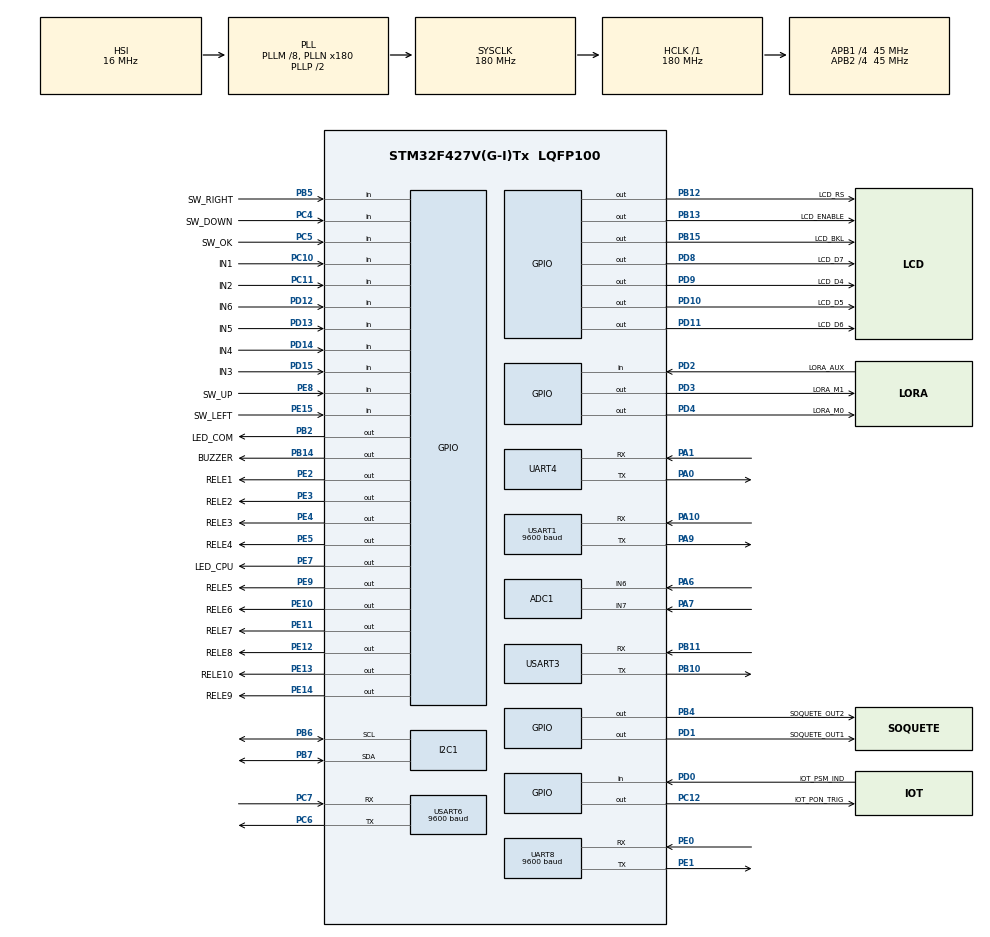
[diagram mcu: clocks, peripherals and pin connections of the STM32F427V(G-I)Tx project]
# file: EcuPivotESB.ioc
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ADC1.Channel-0\#ChannelRegularConversion=ADC_CHANNEL_7
ADC1.ClockPrescaler=ADC_CLOCK_SYNC_PCLK_DIV8
ADC1.ContinuousConvMode=ENABLE
ADC1.DMAContinuousRequests=ENABLE
ADC1.NbrOfConversionFlag=1
ADC1.Rank-0\#ChannelRegularConversion=1
ADC1.SamplingTime-0\#ChannelRegularConversion=ADC_SAMPLETIME_3CYCLES
ADC1.ScanConvMode=ENABLE
ADC1.master=1
Dma.ADC1.0.Direction=DMA_PERIPH_TO_MEMORY
Dma.ADC1.0.FIFOMode=DMA_FIFOMODE_DISABLE
Dma.ADC1.0.Instance=DMA2_Stream0
Dma.ADC1.0.MemDataAlignment=DMA_MDATAALIGN_HALFWORD
Dma.ADC1.0.MemInc=DMA_MINC_ENABLE
Dma.ADC1.0.Mode=DMA_CIRCULAR
Dma.ADC1.0.PeriphDataAlignment=DMA_PDATAALIGN_HALFWORD
Dma.ADC1.0.PeriphInc=DMA_PINC_DISABLE
Dma.ADC1.0.Priority=DMA_PRIORITY_LOW
Dma.Request0=ADC1
Dma.Request1=UART4_RX
Dma.Request2=USART1_RX
Dma.Request3=USART6_RX
Dma.Request4=UART8_RX
Dma.UART4_RX.1.Direction=DMA_PERIPH_TO_MEMORY
Dma.UART4_RX.1.FIFOMode=DMA_FIFOMODE_DISABLE
Dma.UART4_RX.1.Instance=DMA1_Stream2
Dma.UART4_RX.1.MemDataAlignment=DMA_MDATAALIGN_BYTE
Dma.UART4_RX.1.MemInc=DMA_MINC_ENABLE
Dma.UART4_RX.1.Mode=DMA_CIRCULAR
Dma.UART4_RX.1.PeriphDataAlignment=DMA_PDATAALIGN_BYTE
Dma.UART4_RX.1.PeriphInc=DMA_PINC_DISABLE
Dma.UART4_RX.1.Priority=DMA_PRIORITY_HIGH
Dma.UART8_RX.4.Direction=DMA_PERIPH_TO_MEMORY
Dma.UART8_RX.4.FIFOMode=DMA_FIFOMODE_DISABLE
Dma.UART8_RX.4.Instance=DMA1_Stream6
Dma.UART8_RX.4.MemDataAlignment=DMA_MDATAALIGN_BYTE
Dma.UART8_RX.4.MemInc=DMA_MINC_ENABLE
Dma.UART8_RX.4.Mode=DMA_CIRCULAR
Dma.UART8_RX.4.PeriphDataAlignment=DMA_PDATAALIGN_BYTE
Dma.UART8_RX.4.PeriphInc=DMA_PINC_DISABLE
Dma.UART8_RX.4.Priority=DMA_PRIORITY_MEDIUM
Dma.USART1_RX.2.Direction=DMA_PERIPH_TO_MEMORY
Dma.USART1_RX.2.FIFOMode=DMA_FIFOMODE_DISABLE
Dma.USART1_RX.2.Instance=DMA2_Stream2
Dma.USART1_RX.2.MemDataAlignment=DMA_MDATAALIGN_BYTE
Dma.USART1_RX.2.MemInc=DMA_MINC_ENABLE
Dma.USART1_RX.2.Mode=DMA_CIRCULAR
Dma.USART1_RX.2.PeriphDataAlignment=DMA_PDATAALIGN_BYTE
Dma.USART1_RX.2.PeriphInc=DMA_PINC_DISABLE
Dma.USART1_RX.2.Priority=DMA_PRIORITY_MEDIUM
Dma.USART6_RX.3.Direction=DMA_PERIPH_TO_MEMORY
Dma.USART6_RX.3.FIFOMode=DMA_FIFOMODE_DISABLE
Dma.USART6_RX.3.Instance=DMA2_Stream1
Dma.USART6_RX.3.MemDataAlignment=DMA_MDATAALIGN_BYTE
Dma.USART6_RX.3.MemInc=DMA_MINC_ENABLE
Dma.USART6_RX.3.Mode=DMA_CIRCULAR
Dma.USART6_RX.3.PeriphDataAlignment=DMA_PDATAALIGN_BYTE
Dma.USART6_RX.3.PeriphInc=DMA_PINC_DISABLE
Dma.USART6_RX.3.Priority=DMA_PRIORITY_HIGH
FREERTOS.Tasks01=mainTask,0,512,MainTask,Default,NULL,Dynamic,NULL,NULL;ftpTask,-3,1024,FTPTask,Default,NULL,Dynamic,NULL,NULL
FREERTOS.configUSE_NEWLIB_REENTRANT=1
IWDG.Prescaler=IWDG_PRESCALER_64
Mcu.Family=STM32F4
Mcu.Name=STM32F427V(G-I)Tx
Mcu.Package=LQFP100
NVIC.ADC_IRQn=true\:5\:0\:false\:false\:true\:true\:true\:true\:true
NVIC.DMA1_Stream2_IRQn=true\:5\:0\:false\:false\:true\:true\:false\:true\:true
NVIC.DMA1_Stream6_IRQn=true\:5\:0\:false\:false\:true\:true\:false\:true\:true
NVIC.DMA2_Stream0_IRQn=true\:5\:0\:false\:false\:true\:true\:false\:true\:true
NVIC.DMA2_Stream1_IRQn=true\:5\:0\:false\:false\:true\:true\:false\:true\:true
NVIC.DMA2_Stream2_IRQn=true\:5\:0\:false\:false\:true\:true\:false\:true\:true
NVIC.PriorityGroup=NVIC_PRIORITYGROUP_4
NVIC.TIM1_UP_TIM10_IRQn=true\:15\:0\:false\:false\:true\:false\:false\:true\:true
NVIC.TIM3_IRQn=true\:5\:0\:false\:false\:true\:true\:true\:true\:true
NVIC.TimeBase=TIM1_UP_TIM10_IRQn
NVIC.TimeBaseIP=TIM1
NVIC.UART4_IRQn=true\:5\:0\:false\:false\:true\:true\:true\:true\:true
NVIC.UART8_IRQn=true\:5\:0\:false\:false\:true\:true\:true\:true\:true
NVIC.USART1_IRQn=true\:5\:0\:false\:false\:true\:true\:true\:true\:true
NVIC.USART6_IRQn=true\:5\:0\:false\:false\:true\:true\:true\:true\:true
PA0/WKUP.Mode=Asynchronous
PA0/WKUP.Signal=UART4_TX
PA1.Mode=Asynchronous
PA1.Signal=UART4_RX
PA10.Mode=Asynchronous
PA10.Signal=USART1_RX
PA13.Mode=Serial_Wire
PA13.Signal=SYS_JTMS-SWDIO
PA14.Mode=Serial_Wire
PA14.Signal=SYS_JTCK-SWCLK
PA6.Signal=ADCx_IN6
PA7.Signal=ADCx_IN7
PA9.Mode=Asynchronous
PA9.Signal=USART1_TX
PB10.Mode=Asynchronous
PB10.Signal=USART3_TX
PB11.Mode=Asynchronous
PB11.Signal=USART3_RX
PB12.GPIO_Label=LCD_RS
PB12.Signal=GPIO_Output
PB13.GPIO_Label=LCD_ENABLE
PB13.Signal=GPIO_Output
PB14.GPIO_Label=BUZZER
PB14.Signal=GPIO_Output
PB15.GPIO_Label=LCD_BKL
PB15.Signal=GPIO_Output
PB2/BOOT1.GPIO_Label=LED_COM
PB2/BOOT1.Signal=GPIO_Output
PB4.GPIO_Label=SOQUETE_OUT2
PB4.Signal=GPIO_Output
PB5.GPIO_Label=SW_RIGHT
PB5.GPIO_PuPd=GPIO_PULLUP
PB5.Signal=GPIO_Input
PB6.Mode=I2C
PB6.Signal=I2C1_SCL
PB7.Mode=I2C
PB7.Signal=I2C1_SDA
PC10.GPIO_Label=IN1
PC10.GPIO_PuPd=GPIO_PULLUP
PC10.Signal=GPIO_Input
PC11.GPIO_Label=IN2
PC11.GPIO_PuPd=GPIO_PULLUP
PC11.Signal=GPIO_Input
PC12.GPIO_Label=IOT_PON_TRIG
PC12.Signal=GPIO_Output
PC14/OSC32_IN.Mode=LSE-External-Oscillator
PC14/OSC32_IN.Signal=RCC_OSC32_IN
PC15/OSC32_OUT.Mode=LSE-External-Oscillator
PC15/OSC32_OUT.Signal=RCC_OSC32_OUT
PC4.GPIO_Label=SW_DOWN
PC4.GPIO_PuPd=GPIO_PULLUP
PC4.Signal=GPIO_Input
PC5.GPIO_Label=SW_OK
PC5.GPIO_PuPd=GPIO_PULLUP
PC5.Signal=GPIO_Input
PC6.Mode=Asynchronous
PC6.Signal=USART6_TX
PC7.Mode=Asynchronous
PC7.Signal=USART6_RX
PD0.GPIO_Label=IOT_PSM_IND
PD0.Signal=GPIO_Input
PD1.GPIO_Label=SOQUETE_OUT1
PD1.Signal=GPIO_Output
PD10.GPIO_Label=LCD_D5
PD10.Signal=GPIO_Output
PD11.GPIO_Label=LCD_D6
PD11.Signal=GPIO_Output
PD12.GPIO_Label=IN6
PD12.GPIO_PuPd=GPIO_PULLUP
PD12.Signal=GPIO_Input
PD13.GPIO_Label=IN5
PD13.GPIO_PuPd=GPIO_PULLUP
PD13.Signal=GPIO_Input
PD14.GPIO_Label=IN4
PD14.GPIO_PuPd=GPIO_PULLUP
PD14.Signal=GPIO_Input
PD15.GPIO_Label=IN3
PD15.GPIO_PuPd=GPIO_PULLUP
PD15.Signal=GPIO_Input
PD2.GPIO_Label=LORA_AUX
PD2.GPIO_PuPd=GPIO_NOPULL
PD2.Signal=GPIO_Input
PD3.GPIO_Label=LORA_M1
PD3.Signal=GPIO_Output
PD4.GPIO_Label=LORA_M0
PD4.Signal=GPIO_Output
PD8.GPIO_Label=LCD_D7
PD8.Signal=GPIO_Output
PD9.GPIO_Label=LCD_D4
PD9.Signal=GPIO_Output
PE0.Mode=Asynchronous
PE0.Signal=UART8_RX
PE1.Mode=Asynchronous
PE1.Signal=UART8_TX
PE10.GPIO_Label=RELE6
PE10.Signal=GPIO_Output
PE11.GPIO_Label=RELE7
PE11.Signal=GPIO_Output
PE12.GPIO_Label=RELE8
PE12.Signal=GPIO_Output
PE13.GPIO_Label=RELE10
PE13.Signal=GPIO_Output
PE14.GPIO_Label=RELE9
PE14.Signal=GPIO_Output
PE15.GPIO_Label=SW_LEFT
PE15.GPIO_PuPd=GPIO_PULLUP
PE15.Signal=GPIO_Input
PE2.GPIO_Label=RELE1
PE2.Signal=GPIO_Output
PE3.GPIO_Label=RELE2
PE3.Signal=GPIO_Output
PE4.GPIO_Label=RELE3
PE4.Signal=GPIO_Output
PE5.GPIO_Label=RELE4
PE5.Signal=GPIO_Output
PE7.GPIO_Label=LED_CPU
PE7.Signal=GPIO_Output
PE8.GPIO_Label=SW_UP
PE8.GPIO_PuPd=GPIO_PULLUP
PE8.Signal=GPIO_Input
PE9.GPIO_Label=RELE5
PE9.Signal=GPIO_Output
ProjectManager.HeapSize=0x2000
ProjectManager.StackSize=0x4000
ProjectManager.TargetToolchain=STM32CubeIDE
RCC.48MHZClocksFreq_Value=90000000
RCC.AHBFreq_Value=180000000
RCC.APB1CLKDivider=RCC_HCLK_DIV4
RCC.APB1Freq_Value=45000000
RCC.APB1TimFreq_Value=90000000
RCC.APB2CLKDivider=RCC_HCLK_DIV4
RCC.APB2Freq_Value=45000000
RCC.APB2TimFreq_Value=90000000
RCC.CortexFreq_Value=180000000
RCC.HCLKFreq_Value=180000000
RCC.HSE_VALUE=25000000
RCC.HSI_VALUE=16000000
RCC.PLLM=8
RCC.PLLN=180
RCC.RCC_RTC_Clock_SourceVirtual=RCC_RTCCLKSOURCE_LSE
RCC.SYSCLKFreq_VALUE=180000000
RCC.SYSCLKSource=RCC_SYSCLKSOURCE_PLLCLK
RCC.VCOOutputFreq_Value=360000000
SH.ADCx_IN6.0=ADC1_IN6,IN6
SH.ADCx_IN7.0=ADC1_IN7,IN7
TIM2.Prescaler=90-1
TIM3.Period=10-1
TIM3.Prescaler=900-1
UART4.VirtualMode=Asynchronous
UART8.BaudRate=9600
UART8.VirtualMode=Asynchronous
USART1.BaudRate=9600
USART1.VirtualMode=VM_ASYNC
USART3.VirtualMode=VM_ASYNC
USART6.BaudRate=9600
USART6.VirtualMode=VM_ASYNC
VP_FREERTOS_VS_CMSIS_V1.Mode=CMSIS_V1
VP_IWDG_VS_IWDG.Mode=IWDG_Activate
VP_RTC_VS_RTC_Activate.Mode=RTC_Enabled
VP_RTC_VS_RTC_Calendar.Mode=RTC_Calendar
VP_SYS_VS_tim1.Mode=TIM1
VP_TIM2_VS_ClockSourceINT.Mode=Internal
VP_TIM3_VS_ClockSourceINT.Mode=Internal
board=custom

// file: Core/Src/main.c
/* USER CODE BEGIN Header */
/**
  ******************************************************************************
  * @file           : main.c
  * @brief          : Main program body
  ******************************************************************************
  * @attention
  *
  * Copyright (c) 2025 STMicroelectronics.
  * All rights reserved.
  *
  * This software is licensed under terms that can be found in the LICENSE file
  * in the root directory of this software component.
  * If no LICENSE file comes with this software, it is provided AS-IS.
  *
  ******************************************************************************
  */
/* USER CODE END Header */
#include "main.h"
#include "cmsis_os.h"

/* USER CODE BEGIN Includes */
#include "global.h"
#include "string.h"
#include "codigosLogs.h"
/* USER CODE END Includes */

/* USER CODE BEGIN PTD */
const char SERVICE_TOKEN[160] = "Authorization: Bearer eyJhbGciOiJIUzI1NiIsInR5cCI6IkpXVCJ9.eyJpYXQiOjE3MjY3ODc2ODAsImV4cCI6NDg4MjU0NzY4MH0.HAkiJpJuatu9opYnIijl3HBSTZjp9GCYPEYsGmvLF14";
const char SERVICE_ADDRESS[65] = "http://pivots-proxy-reverse.automasensorapps.workers.dev/";
//const char SERVICE_ADDRESS[45] = "http://pivots-907b8.rj.r.appspot.com/";
const char SERVICE_HOST[55] = "pivots-proxy-reverse.automasensorapps.workers.dev";
//const char SERVICE_HOST[32] = "pivots-907b8.rj.r.appspot.com";
const char ENDPOINT_POST_REPORTE[25] = "api/pivots/report";
const char ENDPOINT_GET_ACIONAMENTO[25] = "api/pivots/drive/";
const char ENDPOINT_GET_CONFIG[25] = "api/pivots/config/";
/* USER CODE END PTD */

ADC_HandleTypeDef hadc1;
DMA_HandleTypeDef hdma_adc1;

I2C_HandleTypeDef hi2c1;

IWDG_HandleTypeDef hiwdg;

RTC_HandleTypeDef hrtc;

TIM_HandleTypeDef htim2;
TIM_HandleTypeDef htim3;

UART_HandleTypeDef huart4;
UART_HandleTypeDef huart8;
UART_HandleTypeDef huart1;
UART_HandleTypeDef huart3;
UART_HandleTypeDef huart6;
DMA_HandleTypeDef hdma_uart4_rx;
DMA_HandleTypeDef hdma_uart8_rx;
DMA_HandleTypeDef hdma_usart1_rx;
DMA_HandleTypeDef hdma_usart6_rx;

osThreadId mainTaskHandle;
osThreadId ftpTaskHandle;
/* USER CODE BEGIN PV */
RTC_DateTypeDef sDate;

RTC_TimeTypeDef
	sTime,
	horarioInicioPonta,
	horarioFimPonta;

uint8_t
	flagMenu = false,
	flagEntraMenu = false,
	flagOperacao = false,
	flagBuzzer = false,
	flagLedCOM = false,
	flagAtualizaLCD = false,
	flagReadRTC = false,
	flagServiceOcupado = false,
	flagServiceLeituraConfig = false,
	flagReportaDesligou = false,
	flagContaHorimetro = false,
	flagSalvaHorimetro = false,
	flagVerificaObstaculos = false,

	flagRetornoHome = false,
	flagRetornoHomeHorarioPonta = false,
	flagHomeEncontrado = false,
	flagEmergencia = false,
	flagFalhaSeguranca = false,
	flagFaltaFase = false,
	flagBarricada = false,
	flagBarricadaGPS = false,
	flagFalhaPressao = false,
	flagObstaculoEncontrado = false,
	flagPortaAberta = false,
	flagHorarioPonta = false,
	flagSaiuHorarioPonta = false,
	flagManualDireita = false,
	flagManualEsquerda = false,
	flagAcionamentoPelaEeprom = false,
	flagBombaBooster = false,
	flagOverrideBombaBooster = false,
	flagTrocouLaminaDagua = false,
	flagSelecaoPivot = false,
	flagIrrigacaoAguardandoInicio = false,
	flagIrrigacaoAguardandoPressao = false,
	flagFertiIrrigacao = false,
	flagAcionamentoPercentimetro = false,
	flagAcionamentoBombaPrincipal = false,
	flagAcionamentoContatoAuxiliar = false,

	flagLeituraGNSS = false,
	flagLeituraGNSSRecente = false,
	flagPosicaoInicioOperacaoConfiavel = false,
	flagPacoteRS485 = false,
	flagPacoteGNSSRS485 = false,
	flagPacoteGNSSLoRa = false,
	flagSucessoLoRa = false,

	flagWiFiDhcp = true,

	flagSalvaOperacao = false,

	flagInfoLCDSeguranca = false,
	flagInfoLCDPressao = false,
	flagInfoLCDGNSS = false,

	flagFimCursoDireita = false,
	flagFimCursoEsquerda = false;

uint8_t
	modoOperacao = MODO_DESLOCAMENTO,
	modoOperacaoRemoto = MODO_DESLOCAMENTO,
	modoOperacaoHorarioPonta = MODO_DESLOCAMENTO,
	cicloIrrigacao = IRRIGACAO_1_CICLO,
	sentidoMotor = MOTOR_DESLIGADO,
	sentidoRemoto = REMOTO_SEM_COMANDO,
	sentidoHorarioPonta = MOTOR_DESLIGADO,
	agendaHorarioAcionado = 99,
	alarmePressao = 0,
	histereseAlarmePressao = 0,
	tipoSensorPressao = SENSOR_10BAR,
	tempoPressurizacao = 5,
	placaSoquete = SOQUETE_GPRS,

	contadorVerificaSeguranca = TEMPO_VERIFICA_SEGURANCA,
	contadorReversaoMotor = TEMPO_REVERSAO_MOTOR,
	contadorPulsoReleOn = TEMPO_PULSO_RELE_ON,
	contadorErroBG95 = 0,
	contadorErroGPRS = 0,
	contadorErroGNSS = 0,
	contadorTimeoutGNSS = 0,
	contadorTimeoutGNSSRecente = 0,
	contadorTimeoutConfiguraGNSS = 0,
	contadorTimeoutDadosWiFi = 0,
	comunicacaoGNSS = GNSS_485,
	contadorIniciaVerificacaoHorarioPonta = 0,
	contadorRS485Buffer = 0,
	contadorLoRaBuffer = 0,
	contadorAguardaPosicaoObstaculo = 0,
	pressao = 0,

	timeoutRS485 = TIMEOUT_PADRAO_RS485,

	contadorEntraMenu = 0,
	contadorReporteService = 0,

	percentualSinalOperadora = 0, //entre 0-99%
	qualidadeSinalLora = 0, //entre 0-5

	canalLoRa = 0x1F,
	canalLoRaGateway = 0x10;

char
	soqueteDataIn = ' ',
	rs485DataIn = ' ',
	loraDataIn = ' ',

	operadoraConectada = 'N';

uint16_t
	senha = 0,
	tempoPressurizacaoSegundos = 0,
	contadorSoqueteBuffer = 0,
	contadorTimeoutBG95 = 0,
	contadorTimeoutGPRS = 0,
	contadorTimeoutLoRa = 0,
	contadorTimeoutLoRaGateway = 0,
	contadorTimeoutWiFi = 0,
	contadorBombaPrincipal = 0,

	tempoBaseLaminaDagua = 200,
	tabelaLaminaDagua05 = 7000,
	tabelaLaminaDagua12 = 5000,
	tabelaLaminaDagua20 = 4000,
	tabelaLaminaDagua30 = 3000,
	tabelaLaminaDagua40 = 2000,
	tabelaLaminaDagua50 = 1200,
	tabelaLaminaDagua70 = 500,

	laminaDagua = 100,
	trocaLaminaDagua = 100,
	contadorLaminaDagua = 0,
	contadorLaminaDaguaDesligado = 0,
	setPointContadorLaminaDagua = 0,
	setPointContadorLaminaDaguaDesligado = 0,

	enderecoLoRaPivot = 0x0110,
	enderecoLoRaGNSS = 0x0111,

	enderecoLoRaPivotGateway = 0x0110,
	enderecoLoRaGateway = 0x0112,

	contadorTempoInfoSinais = 0,

	posicaoMemoriaLog = 0;

uint32_t
	numeroSerial = 0,

	ultimoIdConfig = 0,
	ultimoIdAcionamento = 0;

CoordenadasTypeDef
	posicaoAtualGPS,
	posicaoInicioOperacao,
	posicaoHome;

HorimetroTypeDef
	horimetro;

LogTypeDef
	logLido;

char
	mensagemFTPLCD[16],

	bufferEnvioLoRa[TAMANHO_BUFFER_LORA],
	bufferLoRa[TAMANHO_BUFFER_LORA],
	bufferRS485[TAMANHO_BUFFER_RS485],
	bufferSoquete[TAMANHO_BUFFER_SOQUETE],
	bufferEnvioSoquete[TAMANHO_BUFFER_SOQUETE],
	reporteService[TAMANHO_MAXIMO_REPORTE],

	enderecoLoRaRecebidoPivot[5],
	enderecoLoRaRecebidoGNSS[5],
	canalLoRaRecebido[5],

	wifiSSID[QUANTIDADE_CHAR_WIFI_SSID + 1],
	wifiSenha[QUANTIDADE_CHAR_WIFI_SENHA + 1],

	gprsAPN[QUANTIDADE_CHAR_GPRS_APN];

uint8_t
	flagObstaculoAtivado[QUANTIDADE_OBSTACULOS],
	statusEntradasDigitais[QUANTIDADE_ENTRADAS_DIGITAIS],
	statusReles[QUANTIDADE_RELES];

uint8_t
	acionamentoAgenda[QUANTIDADE_AGENDA_ACIONAMENTO],
	diaDaSemanaAgenda[QUANTIDADE_AGENDA_ACIONAMENTO],

	wifiIpDinamico[4],
	wifiIp[4],
	wifiGateway[4],
	wifiDNS[4],
	wifiMask[4];

uint16_t
	valorAdc[2],
	raioAtuacaoObstaculo[QUANTIDADE_OBSTACULOS];

RTC_TimeTypeDef
	horarioLigarAgenda[QUANTIDADE_AGENDA_ACIONAMENTO],
	horarioDesligarAgenda[QUANTIDADE_AGENDA_ACIONAMENTO];

CoordenadasTypeDef
	posicoesObstaculos[QUANTIDADE_OBSTACULOS];
/* USER CODE END PV */

void SystemClock_Config(void);
static void MX_GPIO_Init(void);
static void MX_DMA_Init(void);
static void MX_ADC1_Init(void);
static void MX_RTC_Init(void);
static void MX_TIM2_Init(void);
static void MX_TIM3_Init(void);
static void MX_UART4_Init(void);
static void MX_USART1_UART_Init(void);
static void MX_USART6_UART_Init(void);
static void MX_UART8_Init(void);
static void MX_I2C1_Init(void);
static void MX_USART3_UART_Init(void);
static void MX_IWDG_Init(void);
void MainTask(void const * argument);
void FTPTask(void const * argument);

/* USER CODE BEGIN 0 */
void HAL_ADC_ConvCpltCallback(ADC_HandleTypeDef* hadc) {
	if(hadc == &hadc1) {
		leituraTransdutorPressao();
	}
}

void HAL_UART_RxCpltCallback(UART_HandleTypeDef *huart) {
	if(huart-> Instance==UART8) { // LORA
		bufferLoRa[contadorLoRaBuffer] = loraDataIn;
		contadorLoRaBuffer ++;

		if(contadorLoRaBuffer >= TAMANHO_BUFFER_LORA) {
			apagaLoRaBuffer();
		}

		//HAL_UART_Transmit(&huart1, &loraDataIn, 1, 20);

		if(loraDataIn == 0x0A) {
			flagPacoteGNSSLoRa = true;
		}
	}

	if(huart-> Instance==USART6) { // PLACA SOQUETE
		if(soqueteDataIn == 0x00) {
			return;
		}
		if(placaSoquete == SOQUETE_WIFI) {
			return;
		}
		if(placaSoquete == SOQUETE_GPRS) {
			HAL_UART_Transmit(&huart3, &soqueteDataIn, 1, 20);
		}
		bufferSoquete[contadorSoqueteBuffer] = soqueteDataIn;
		contadorSoqueteBuffer ++;

		if(contadorSoqueteBuffer >= TAMANHO_BUFFER_SOQUETE) {
			apagaSoqueteBuffer();
		}
	}

	if(huart-> Instance==UART4) { //WIFI
		if(soqueteDataIn == 0x00) {
			return;
		}
		if(placaSoquete != SOQUETE_WIFI) {
			return;
		}
		bufferSoquete[contadorSoqueteBuffer] = soqueteDataIn;
		contadorSoqueteBuffer ++;

		if(contadorSoqueteBuffer >= TAMANHO_BUFFER_SOQUETE) {
			apagaSoqueteBuffer();
		}
	}

	if(huart-> Instance==USART1) { //rs485
		if(rs485DataIn == 0x00) {
			return;
		}
		bufferRS485[contadorRS485Buffer] = rs485DataIn;
		contadorRS485Buffer ++;

		if(contadorRS485Buffer >= TAMANHO_BUFFER_RS485) {
			apagaRS485Buffer();
		}

		if(rs485DataIn == 0x0A) {
			flagPacoteRS485 = true;
		}
	}
}

void delayMicro(uint32_t tempo) {
	__HAL_TIM_SET_COUNTER(&htim2, 0);
	while(__HAL_TIM_GET_COUNTER(&htim2) < tempo) {
	}
}

void reiniciaWatchDog() {
	HAL_IWDG_Refresh(&hiwdg);
}

/* USER CODE END 0 */

int main(void)
{

  /* MCU Configuration--------------------------------------------------------*/

  /* Reset of all peripherals, Initializes the Flash interface and the Systick. */
  HAL_Init();

  /* Configure the system clock */
  SystemClock_Config();

  /* Initialize all configured peripherals */
  MX_GPIO_Init();
  MX_DMA_Init();
  MX_ADC1_Init();
  MX_RTC_Init();
  MX_TIM2_Init();
  MX_TIM3_Init();
  MX_UART4_Init();
  MX_USART1_UART_Init();
  MX_USART6_UART_Init();
  MX_UART8_Init();
  MX_I2C1_Init();
  MX_USART3_UART_Init();
  MX_IWDG_Init();
  /* USER CODE BEGIN 2 */
  HAL_TIM_Base_Start(&htim2); //Timer do delay us
  HAL_TIM_Base_Start_IT(&htim3); //Timer do Scheduller
  HAL_ADC_Start_DMA(&hadc1, valorAdc, 2); //Inicia o ADC1 pela DMA
  desligaTodasSaidas();

  on(SOQUETE_OUT2_GPIO_Port, SOQUETE_OUT2_Pin); //O Out1 muda conforme a placa soquete

  on(LED_COM_GPIO_Port, LED_COM_Pin);
  on(LED_CPU_GPIO_Port, LED_CPU_Pin);
  on(LCD_BKL_GPIO_Port, LCD_BKL_Pin);

  off(LORA_M0_GPIO_Port, LORA_M0_Pin);
  off(LORA_M1_GPIO_Port, LORA_M1_Pin);

  readRTC();
  inicializaLcd();
  telaInicial();
  off(SOQUETE_OUT2_GPIO_Port, SOQUETE_OUT2_Pin);

  horimetro.segundos = 0;
  reiniciaVeriaveisProcesso();

  verificaEeprom();
  readPosicaoMemoriaLog();
  salvaLog(LOG_SISTEMA_INICIADO);
  readEeprom();
  calculaLaminaDagua();
  configuraVelocidadeUART6();

  on(IOT_PON_TRIG_GPIO_Port, IOT_PON_TRIG_Pin);
  HAL_Delay(100);
  off(IOT_PON_TRIG_GPIO_Port, IOT_PON_TRIG_Pin);

  HAL_UART_Transmit(&huart3, "Inicializado\n", 13, 100);
  HAL_UART_Receive_DMA(&huart8, &loraDataIn, 1);
  if(placaSoquete == SOQUETE_WIFI) {
	  HAL_UART_Receive_DMA(&huart4, &soqueteDataIn, 1);
  }
  else {
	  HAL_UART_Receive_DMA(&huart6, &soqueteDataIn, 1);
  }

  HAL_UART_Receive_DMA(&huart1, &rs485DataIn, 1);

  telaOperacao();

  /* USER CODE END 2 */

  /* Create the thread(s) */
  /* definition and creation of mainTask */
  osThreadDef(mainTask, MainTask, osPriorityNormal, 0, 512);
  mainTaskHandle = osThreadCreate(osThread(mainTask), NULL);

  /* definition and creation of ftpTask */
  osThreadDef(ftpTask, FTPTask, osPriorityIdle, 0, 1024);
  ftpTaskHandle = osThreadCreate(osThread(ftpTask), NULL);

  /* Start scheduler */
  osKernelStart();

  /* We should never get here as control is now taken by the scheduler */

  /* Infinite loop */
  while (1)
  {

  }
}

void SystemClock_Config(void)
{
  RCC_OscInitTypeDef RCC_OscInitStruct = {0};
  RCC_ClkInitTypeDef RCC_ClkInitStruct = {0};

  /** Configure the main internal regulator output voltage
  */
  __HAL_RCC_PWR_CLK_ENABLE();
  __HAL_PWR_VOLTAGESCALING_CONFIG(PWR_REGULATOR_VOLTAGE_SCALE1);

  /** Initializes the RCC Oscillators according to the specified parameters
  * in the RCC_OscInitTypeDef structure.
  */
  RCC_OscInitStruct.OscillatorType = RCC_OSCILLATORTYPE_HSI|RCC_OSCILLATORTYPE_LSI
                              |RCC_OSCILLATORTYPE_LSE;
  RCC_OscInitStruct.LSEState = RCC_LSE_ON;
  RCC_OscInitStruct.HSIState = RCC_HSI_ON;
  RCC_OscInitStruct.HSICalibrationValue = RCC_HSICALIBRATION_DEFAULT;
  RCC_OscInitStruct.LSIState = RCC_LSI_ON;
  RCC_OscInitStruct.PLL.PLLState = RCC_PLL_ON;
  RCC_OscInitStruct.PLL.PLLSource = RCC_PLLSOURCE_HSI;
  RCC_OscInitStruct.PLL.PLLM = 8;
  RCC_OscInitStruct.PLL.PLLN = 180;
  RCC_OscInitStruct.PLL.PLLP = RCC_PLLP_DIV2;
  RCC_OscInitStruct.PLL.PLLQ = 4;
  if (HAL_RCC_OscConfig(&RCC_OscInitStruct) != HAL_OK)
  {
    Error_Handler();
  }

  /** Activate the Over-Drive mode
  */
  if (HAL_PWREx_EnableOverDrive() != HAL_OK)
  {
    Error_Handler();
  }

  /** Initializes the CPU, AHB and APB buses clocks
  */
  RCC_ClkInitStruct.ClockType = RCC_CLOCKTYPE_HCLK|RCC_CLOCKTYPE_SYSCLK
                              |RCC_CLOCKTYPE_PCLK1|RCC_CLOCKTYPE_PCLK2;
  RCC_ClkInitStruct.SYSCLKSource = RCC_SYSCLKSOURCE_PLLCLK;
  RCC_ClkInitStruct.AHBCLKDivider = RCC_SYSCLK_DIV1;
  RCC_ClkInitStruct.APB1CLKDivider = RCC_HCLK_DIV4;
  RCC_ClkInitStruct.APB2CLKDivider = RCC_HCLK_DIV4;

  if (HAL_RCC_ClockConfig(&RCC_ClkInitStruct, FLASH_LATENCY_5) != HAL_OK)
  {
    Error_Handler();
  }
}

static void MX_ADC1_Init(void)
{

  ADC_ChannelConfTypeDef sConfig = {0};

  /** Configure the global features of the ADC (Clock, Resolution, Data Alignment and number of conversion)
  */
  hadc1.Instance = ADC1;
  hadc1.Init.ClockPrescaler = ADC_CLOCK_SYNC_PCLK_DIV8;
  hadc1.Init.Resolution = ADC_RESOLUTION_12B;
  hadc1.Init.ScanConvMode = ENABLE;
  hadc1.Init.ContinuousConvMode = ENABLE;
  hadc1.Init.DiscontinuousConvMode = DISABLE;
  hadc1.Init.ExternalTrigConvEdge = ADC_EXTERNALTRIGCONVEDGE_NONE;
  hadc1.Init.ExternalTrigConv = ADC_SOFTWARE_START;
  hadc1.Init.DataAlign = ADC_DATAALIGN_RIGHT;
  hadc1.Init.NbrOfConversion = 1;
  hadc1.Init.DMAContinuousRequests = ENABLE;
  hadc1.Init.EOCSelection = ADC_EOC_SINGLE_CONV;
  if (HAL_ADC_Init(&hadc1) != HAL_OK)
  {
    Error_Handler();
  }

  /** Configure for the selected ADC regular channel its corresponding rank in the sequencer and its sample time.
  */
  sConfig.Channel = ADC_CHANNEL_7;
  sConfig.Rank = 1;
  sConfig.SamplingTime = ADC_SAMPLETIME_3CYCLES;
  if (HAL_ADC_ConfigChannel(&hadc1, &sConfig) != HAL_OK)
  {
    Error_Handler();
  }

}

static void MX_I2C1_Init(void)
{

  hi2c1.Instance = I2C1;
  hi2c1.Init.ClockSpeed = 100000;
  hi2c1.Init.DutyCycle = I2C_DUTYCYCLE_2;
  hi2c1.Init.OwnAddress1 = 0;
  hi2c1.Init.AddressingMode = I2C_ADDRESSINGMODE_7BIT;
  hi2c1.Init.DualAddressMode = I2C_DUALADDRESS_DISABLE;
  hi2c1.Init.OwnAddress2 = 0;
  hi2c1.Init.GeneralCallMode = I2C_GENERALCALL_DISABLE;
  hi2c1.Init.NoStretchMode = I2C_NOSTRETCH_DISABLE;
  if (HAL_I2C_Init(&hi2c1) != HAL_OK)
  {
    Error_Handler();
  }

  /** Configure Analogue filter
  */
  if (HAL_I2CEx_ConfigAnalogFilter(&hi2c1, I2C_ANALOGFILTER_ENABLE) != HAL_OK)
  {
    Error_Handler();
  }

  /** Configure Digital filter
  */
  if (HAL_I2CEx_ConfigDigitalFilter(&hi2c1, 0) != HAL_OK)
  {
    Error_Handler();
  }

}

static void MX_IWDG_Init(void)
{

  hiwdg.Instance = IWDG;
  hiwdg.Init.Prescaler = IWDG_PRESCALER_64;
  hiwdg.Init.Reload = 4095;
  if (HAL_IWDG_Init(&hiwdg) != HAL_OK)
  {
    Error_Handler();
  }

}

static void MX_RTC_Init(void)
{

  RTC_TimeTypeDef sTime = {0};
  RTC_DateTypeDef sDate = {0};

  /** Initialize RTC Only
  */
  hrtc.Instance = RTC;
  hrtc.Init.HourFormat = RTC_HOURFORMAT_24;
  hrtc.Init.AsynchPrediv = 127;
  hrtc.Init.SynchPrediv = 255;
  hrtc.Init.OutPut = RTC_OUTPUT_DISABLE;
  hrtc.Init.OutPutPolarity = RTC_OUTPUT_POLARITY_HIGH;
  hrtc.Init.OutPutType = RTC_OUTPUT_TYPE_OPENDRAIN;
  if (HAL_RTC_Init(&hrtc) != HAL_OK)
  {
    Error_Handler();
  }

  /* USER CODE BEGIN Check_RTC_BKUP */
  return; //não permite reiniciar a data/hora
  /* USER CODE END Check_RTC_BKUP */

  /** Initialize RTC and set the Time and Date
  */
  sTime.Hours = 0x0;
  sTime.Minutes = 0x0;
  sTime.Seconds = 0x0;
  sTime.DayLightSaving = RTC_DAYLIGHTSAVING_NONE;
  sTime.StoreOperation = RTC_STOREOPERATION_RESET;
  if (HAL_RTC_SetTime(&hrtc, &sTime, RTC_FORMAT_BCD) != HAL_OK)
  {
    Error_Handler();
  }
  sDate.WeekDay = RTC_WEEKDAY_MONDAY;
  sDate.Month = RTC_MONTH_JANUARY;
  sDate.Date = 0x1;
  sDate.Year = 0x0;

  if (HAL_RTC_SetDate(&hrtc, &sDate, RTC_FORMAT_BCD) != HAL_OK)
  {
    Error_Handler();
  }

}

static void MX_TIM2_Init(void)
{

  TIM_ClockConfigTypeDef sClockSourceConfig = {0};
  TIM_MasterConfigTypeDef sMasterConfig = {0};

  htim2.Instance = TIM2;
  htim2.Init.Prescaler = 90-1;
  htim2.Init.CounterMode = TIM_COUNTERMODE_UP;
  htim2.Init.Period = 4294967295;
  htim2.Init.ClockDivision = TIM_CLOCKDIVISION_DIV1;
  htim2.Init.AutoReloadPreload = TIM_AUTORELOAD_PRELOAD_DISABLE;
  if (HAL_TIM_Base_Init(&htim2) != HAL_OK)
  {
    Error_Handler();
  }
  sClockSourceConfig.ClockSource = TIM_CLOCKSOURCE_INTERNAL;
  if (HAL_TIM_ConfigClockSource(&htim2, &sClockSourceConfig) != HAL_OK)
  {
    Error_Handler();
  }
  sMasterConfig.MasterOutputTrigger = TIM_TRGO_RESET;
  sMasterConfig.MasterSlaveMode = TIM_MASTERSLAVEMODE_DISABLE;
  if (HAL_TIMEx_MasterConfigSynchronization(&htim2, &sMasterConfig) != HAL_OK)
  {
    Error_Handler();
  }

}

static void MX_TIM3_Init(void)
{

  TIM_ClockConfigTypeDef sClockSourceConfig = {0};
  TIM_MasterConfigTypeDef sMasterConfig = {0};

  htim3.Instance = TIM3;
  htim3.Init.Prescaler = 900-1;
  htim3.Init.CounterMode = TIM_COUNTERMODE_UP;
  htim3.Init.Period = 10-1;
  htim3.Init.ClockDivision = TIM_CLOCKDIVISION_DIV1;
  htim3.Init.AutoReloadPreload = TIM_AUTORELOAD_PRELOAD_DISABLE;
  if (HAL_TIM_Base_Init(&htim3) != HAL_OK)
  {
    Error_Handler();
  }
  sClockSourceConfig.ClockSource = TIM_CLOCKSOURCE_INTERNAL;
  if (HAL_TIM_ConfigClockSource(&htim3, &sClockSourceConfig) != HAL_OK)
  {
    Error_Handler();
  }
  sMasterConfig.MasterOutputTrigger = TIM_TRGO_RESET;
  sMasterConfig.MasterSlaveMode = TIM_MASTERSLAVEMODE_DISABLE;
  if (HAL_TIMEx_MasterConfigSynchronization(&htim3, &sMasterConfig) != HAL_OK)
  {
    Error_Handler();
  }

}

static void MX_UART4_Init(void)
{

  huart4.Instance = UART4;
  huart4.Init.BaudRate = 115200;
  huart4.Init.WordLength = UART_WORDLENGTH_8B;
  huart4.Init.StopBits = UART_STOPBITS_1;
  huart4.Init.Parity = UART_PARITY_NONE;
  huart4.Init.Mode = UART_MODE_TX_RX;
  huart4.Init.HwFlowCtl = UART_HWCONTROL_NONE;
  huart4.Init.OverSampling = UART_OVERSAMPLING_16;
  if (HAL_UART_Init(&huart4) != HAL_OK)
  {
    Error_Handler();
  }

}

static void MX_UART8_Init(void)
{

  huart8.Instance = UART8;
  huart8.Init.BaudRate = 9600;
  huart8.Init.WordLength = UART_WORDLENGTH_8B;
  huart8.Init.StopBits = UART_STOPBITS_1;
  huart8.Init.Parity = UART_PARITY_NONE;
  huart8.Init.Mode = UART_MODE_TX_RX;
  huart8.Init.HwFlowCtl = UART_HWCONTROL_NONE;
  huart8.Init.OverSampling = UART_OVERSAMPLING_16;
  if (HAL_UART_Init(&huart8) != HAL_OK)
  {
    Error_Handler();
  }

}

static void MX_USART1_UART_Init(void)
{

  huart1.Instance = USART1;
  huart1.Init.BaudRate = 9600;
  huart1.Init.WordLength = UART_WORDLENGTH_8B;
  huart1.Init.StopBits = UART_STOPBITS_1;
  huart1.Init.Parity = UART_PARITY_NONE;
  huart1.Init.Mode = UART_MODE_TX_RX;
  huart1.Init.HwFlowCtl = UART_HWCONTROL_NONE;
  huart1.Init.OverSampling = UART_OVERSAMPLING_16;
  if (HAL_UART_Init(&huart1) != HAL_OK)
  {
    Error_Handler();
  }

}

static void MX_USART3_UART_Init(void)
{

  huart3.Instance = USART3;
  huart3.Init.BaudRate = 115200;
  huart3.Init.WordLength = UART_WORDLENGTH_8B;
  huart3.Init.StopBits = UART_STOPBITS_1;
  huart3.Init.Parity = UART_PARITY_NONE;
  huart3.Init.Mode = UART_MODE_TX_RX;
  huart3.Init.HwFlowCtl = UART_HWCONTROL_NONE;
  huart3.Init.OverSampling = UART_OVERSAMPLING_16;
  if (HAL_UART_Init(&huart3) != HAL_OK)
  {
    Error_Handler();
  }

}

static void MX_USART6_UART_Init(void)
{

  huart6.Instance = USART6;
  huart6.Init.BaudRate = 9600;
  huart6.Init.WordLength = UART_WORDLENGTH_8B;
  huart6.Init.StopBits = UART_STOPBITS_1;
  huart6.Init.Parity = UART_PARITY_NONE;
  huart6.Init.Mode = UART_MODE_TX_RX;
  huart6.Init.HwFlowCtl = UART_HWCONTROL_NONE;
  huart6.Init.OverSampling = UART_OVERSAMPLING_16;
  if (HAL_UART_Init(&huart6) != HAL_OK)
  {
    Error_Handler();
  }

}

static void MX_DMA_Init(void)
{

  /* DMA controller clock enable */
  __HAL_RCC_DMA2_CLK_ENABLE();
  __HAL_RCC_DMA1_CLK_ENABLE();

  /* DMA interrupt init */
  /* DMA1_Stream2_IRQn interrupt configuration */
  HAL_NVIC_SetPriority(DMA1_Stream2_IRQn, 5, 0);
  HAL_NVIC_EnableIRQ(DMA1_Stream2_IRQn);
  /* DMA1_Stream6_IRQn interrupt configuration */
  HAL_NVIC_SetPriority(DMA1_Stream6_IRQn, 5, 0);
  HAL_NVIC_EnableIRQ(DMA1_Stream6_IRQn);
  /* DMA2_Stream0_IRQn interrupt configuration */
  HAL_NVIC_SetPriority(DMA2_Stream0_IRQn, 5, 0);
  HAL_NVIC_EnableIRQ(DMA2_Stream0_IRQn);
  /* DMA2_Stream1_IRQn interrupt configuration */
  HAL_NVIC_SetPriority(DMA2_Stream1_IRQn, 5, 0);
  HAL_NVIC_EnableIRQ(DMA2_Stream1_IRQn);
  /* DMA2_Stream2_IRQn interrupt configuration */
  HAL_NVIC_SetPriority(DMA2_Stream2_IRQn, 5, 0);
  HAL_NVIC_EnableIRQ(DMA2_Stream2_IRQn);

}

static void MX_GPIO_Init(void)
{
  GPIO_InitTypeDef GPIO_InitStruct = {0};

  /* GPIO Ports Clock Enable */
  __HAL_RCC_GPIOE_CLK_ENABLE();
  __HAL_RCC_GPIOC_CLK_ENABLE();
  __HAL_RCC_GPIOA_CLK_ENABLE();
  __HAL_RCC_GPIOB_CLK_ENABLE();
  __HAL_RCC_GPIOD_CLK_ENABLE();

  /*Configure GPIO pin Output Level */
  HAL_GPIO_WritePin(GPIOE, RELE1_Pin|RELE2_Pin|RELE3_Pin|RELE4_Pin
                          |LED_CPU_Pin|RELE5_Pin|RELE6_Pin|RELE7_Pin
                          |RELE8_Pin|RELE10_Pin|RELE9_Pin, GPIO_PIN_RESET);

  /*Configure GPIO pin Output Level */
  HAL_GPIO_WritePin(GPIOB, LED_COM_Pin|LCD_RS_Pin|LCD_ENABLE_Pin|BUZZER_Pin
                          |LCD_BKL_Pin|SOQUETE_OUT2_Pin, GPIO_PIN_RESET);

  /*Configure GPIO pin Output Level */
  HAL_GPIO_WritePin(GPIOD, LCD_D7_Pin|LCD_D4_Pin|LCD_D5_Pin|LCD_D6_Pin
                          |SOQUETE_OUT1_Pin|LORA_M1_Pin|LORA_M0_Pin, GPIO_PIN_RESET);

  /*Configure GPIO pin Output Level */
  HAL_GPIO_WritePin(IOT_PON_TRIG_GPIO_Port, IOT_PON_TRIG_Pin, GPIO_PIN_RESET);

  /*Configure GPIO pins : RELE1_Pin RELE2_Pin RELE3_Pin RELE4_Pin
                           LED_CPU_Pin RELE5_Pin RELE6_Pin RELE7_Pin
                           RELE8_Pin RELE10_Pin RELE9_Pin */
  GPIO_InitStruct.Pin = RELE1_Pin|RELE2_Pin|RELE3_Pin|RELE4_Pin
                          |LED_CPU_Pin|RELE5_Pin|RELE6_Pin|RELE7_Pin
                          |RELE8_Pin|RELE10_Pin|RELE9_Pin;
  GPIO_InitStruct.Mode = GPIO_MODE_OUTPUT_PP;
  GPIO_InitStruct.Pull = GPIO_NOPULL;
  GPIO_InitStruct.Speed = GPIO_SPEED_FREQ_LOW;
  HAL_GPIO_Init(GPIOE, &GPIO_InitStruct);

  /*Configure GPIO pins : SW_DOWN_Pin SW_OK_Pin IN1_Pin IN2_Pin */
  GPIO_InitStruct.Pin = SW_DOWN_Pin|SW_OK_Pin|IN1_Pin|IN2_Pin;
  GPIO_InitStruct.Mode = GPIO_MODE_INPUT;
  GPIO_InitStruct.Pull = GPIO_PULLUP;
  HAL_GPIO_Init(GPIOC, &GPIO_InitStruct);

  /*Configure GPIO pins : LED_COM_Pin LCD_RS_Pin LCD_ENABLE_Pin BUZZER_Pin
                           LCD_BKL_Pin SOQUETE_OUT2_Pin */
  GPIO_InitStruct.Pin = LED_COM_Pin|LCD_RS_Pin|LCD_ENABLE_Pin|BUZZER_Pin
                          |LCD_BKL_Pin|SOQUETE_OUT2_Pin;
  GPIO_InitStruct.Mode = GPIO_MODE_OUTPUT_PP;
  GPIO_InitStruct.Pull = GPIO_NOPULL;
  GPIO_InitStruct.Speed = GPIO_SPEED_FREQ_LOW;
  HAL_GPIO_Init(GPIOB, &GPIO_InitStruct);

  /*Configure GPIO pins : SW_UP_Pin SW_LEFT_Pin */
  GPIO_InitStruct.Pin = SW_UP_Pin|SW_LEFT_Pin;
  GPIO_InitStruct.Mode = GPIO_MODE_INPUT;
  GPIO_InitStruct.Pull = GPIO_PULLUP;
  HAL_GPIO_Init(GPIOE, &GPIO_InitStruct);

  /*Configure GPIO pins : LCD_D7_Pin LCD_D4_Pin LCD_D5_Pin LCD_D6_Pin
                           SOQUETE_OUT1_Pin LORA_M1_Pin LORA_M0_Pin */
  GPIO_InitStruct.Pin = LCD_D7_Pin|LCD_D4_Pin|LCD_D5_Pin|LCD_D6_Pin
                          |SOQUETE_OUT1_Pin|LORA_M1_Pin|LORA_M0_Pin;
  GPIO_InitStruct.Mode = GPIO_MODE_OUTPUT_PP;
  GPIO_InitStruct.Pull = GPIO_NOPULL;
  GPIO_InitStruct.Speed = GPIO_SPEED_FREQ_LOW;
  HAL_GPIO_Init(GPIOD, &GPIO_InitStruct);

  /*Configure GPIO pins : IN6_Pin IN5_Pin IN4_Pin IN3_Pin */
  GPIO_InitStruct.Pin = IN6_Pin|IN5_Pin|IN4_Pin|IN3_Pin;
  GPIO_InitStruct.Mode = GPIO_MODE_INPUT;
  GPIO_InitStruct.Pull = GPIO_PULLUP;
  HAL_GPIO_Init(GPIOD, &GPIO_InitStruct);

  /*Configure GPIO pin : IOT_PON_TRIG_Pin */
  GPIO_InitStruct.Pin = IOT_PON_TRIG_Pin;
  GPIO_InitStruct.Mode = GPIO_MODE_OUTPUT_PP;
  GPIO_InitStruct.Pull = GPIO_NOPULL;
  GPIO_InitStruct.Speed = GPIO_SPEED_FREQ_LOW;
  HAL_GPIO_Init(IOT_PON_TRIG_GPIO_Port, &GPIO_InitStruct);

  /*Configure GPIO pins : IOT_PSM_IND_Pin LORA_AUX_Pin */
  GPIO_InitStruct.Pin = IOT_PSM_IND_Pin|LORA_AUX_Pin;
  GPIO_InitStruct.Mode = GPIO_MODE_INPUT;
  GPIO_InitStruct.Pull = GPIO_NOPULL;
  HAL_GPIO_Init(GPIOD, &GPIO_InitStruct);

  /*Configure GPIO pin : SW_RIGHT_Pin */
  GPIO_InitStruct.Pin = SW_RIGHT_Pin;
  GPIO_InitStruct.Mode = GPIO_MODE_INPUT;
  GPIO_InitStruct.Pull = GPIO_PULLUP;
  HAL_GPIO_Init(SW_RIGHT_GPIO_Port, &GPIO_InitStruct);

}

void MainTask(void const * argument)
{
  /* USER CODE BEGIN 5 */
  /* Infinite loop */
  for(;;)
  {
	  mainTask();
	  osDelay(1);
  }
  /* USER CODE END 5 */
}

void FTPTask(void const * argument)
{
  /* USER CODE BEGIN FTPTask */
  /* Infinite loop */
  for(;;)
  {
	  serviceTask();
	  osDelay(1);
  }
  /* USER CODE END FTPTask */
}

void HAL_TIM_PeriodElapsedCallback(TIM_HandleTypeDef *htim)
{
  if (htim->Instance == TIM1)
  {
    HAL_IncTick();
  }
  /* USER CODE BEGIN Callback 1 */

  if(htim == &htim3) {
  	  schedulerEngine();
  }

  /* USER CODE END Callback 1 */
}

void Error_Handler(void)
{
  __disable_irq();
  while (1)
  {
  }
}
